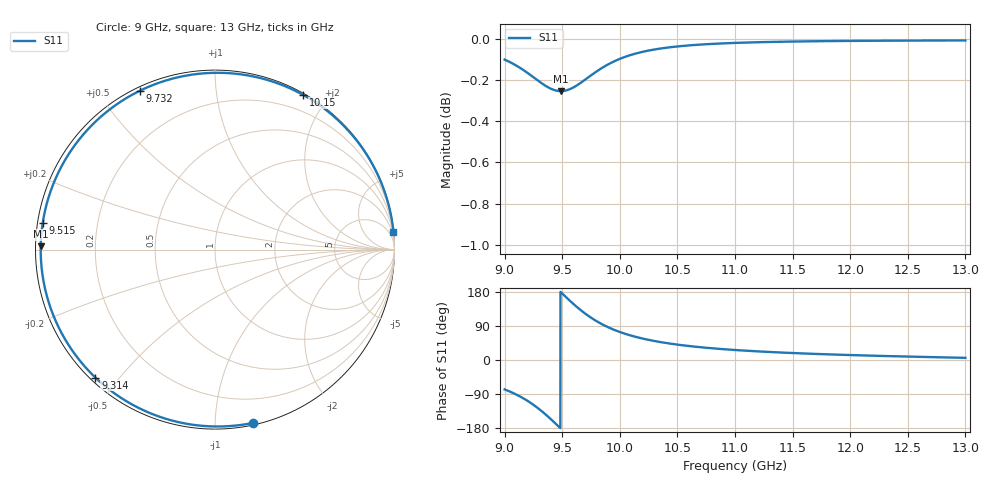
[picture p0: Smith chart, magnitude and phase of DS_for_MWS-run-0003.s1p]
! TOUCHSTONE file generated by CST DESIGN STUDIO
! Date and time: Tue Feb  4 12:41:11 2025
! Project name: C:\Work\MatlabApps\UnitCellOptimizationMatlab\CST\unitcell.cst
! Tree item: Tasks\Sweep1\SPara1\S-Parameters
! Header version: 2024
! Port assignment regex: !\s*Touchstone port\s*([0-9]+)\s*=\s*(CST MWS port|CST DES external port|CST DES block port)\s*(.+)\s* \(\"(.*)\"\)(\s*mode\s*([0-9]+))?.*
! Touchstone port assignment:
! Touchstone port 1 = CST DES external port 1 ("")
# GHz S MA R 50
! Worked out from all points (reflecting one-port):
!   4001 points, 9 GHz to 13 GHz, reference 50 ohm
!   lowest |S11| = -0.3 dB at 9.488 GHz (marker M1), VSWR 68.56, Z = 0.729 + j0.449 ohm
!   phase of S11 starts at -78 deg and turns -277 deg over the sweep
!   S11 on the Smith chart (normalised r, x): 9 GHz: 0.01, -1.24; 9.314 GHz: 0.01, -0.43; 9.515 GHz: 0.01, +0.08; 9.732 GHz: 0.01, +0.63; 10.15 GHz: 0.02, +1.72; 13 GHz: 0, +20
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9  0.9885 -77.6
9.08  0.986 -88.0
9.179  0.9821 -104.1
9.249  0.9789 -118.0
9.314  0.9759 -133.0
9.36  0.9739 -144.8
9.409  0.9723 -158.2
9.449  0.9715 -169.7
9.488  0.9712 179.0
9.5  0.9713 175.5
9.515  0.9714 171.1
9.568  0.9724 156.0
9.628  0.9744 139.8
9.679  0.9766 127.2
9.732  0.979 115.4
9.786  0.9814 104.7
9.846  0.9839 94.4
9.922  0.9867 83.3
10  0.9889 73.9
10.148  0.9921 60.2
10.307  0.9942 49.7
10.5  0.9958 40.6
10.722  0.997 33.1
11  0.9978 26.4
11.5  0.9986 18.4
12  0.9989 13.0
12.5  0.9991 9.0
13  0.9992 5.7
